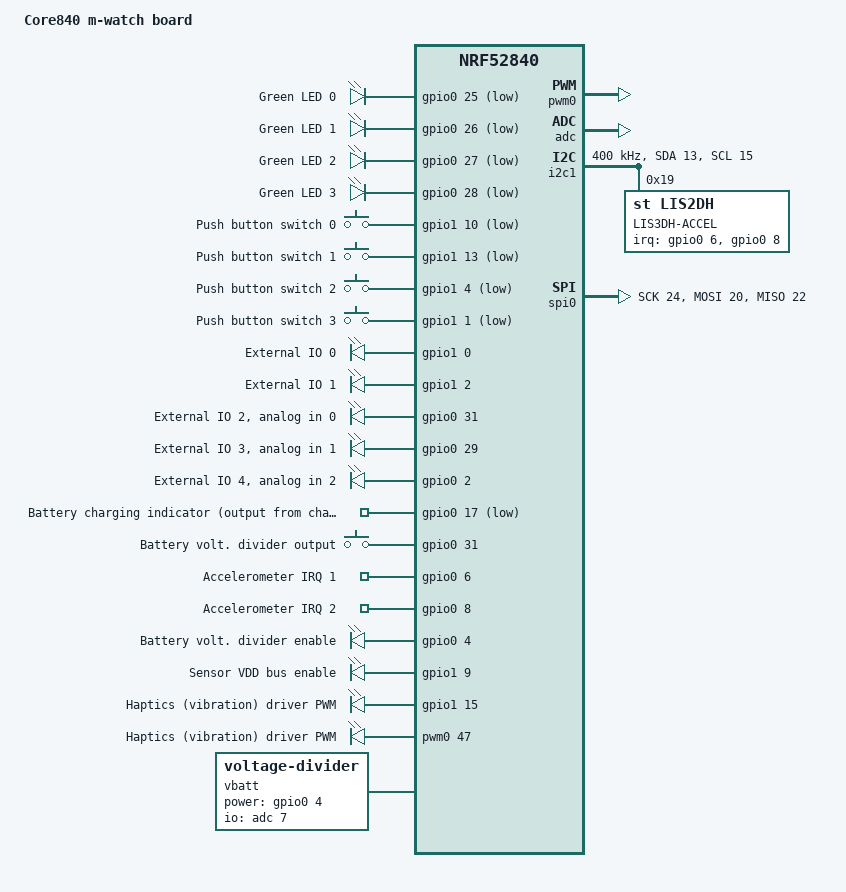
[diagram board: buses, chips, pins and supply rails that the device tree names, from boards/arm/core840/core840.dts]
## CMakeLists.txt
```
# Find Zephyr. This also loads Zephyr's build system.
cmake_minimum_required(VERSION 3.13.1)

list(APPEND BOARD_ROOT ${CMAKE_CURRENT_SOURCE_DIR})
set(BOARD core840)

set(b0_OVERLAY_CONFIG
  ${CMAKE_CURRENT_SOURCE_DIR}/b0.conf
  )

set(mcuboot_OVERLAY_CONFIG
  overlay-minimal-external-crypto.conf
  )

set(mcuboot_CONF_FILE
  # Need to define this var instead of using
  # overlay, because of custom key logic in
  # NCS mcuboot.cmake
  ${CMAKE_CURRENT_SOURCE_DIR}/mcuboot.conf
  )

find_package(Zephyr HINTS $ENV{ZEPHYR_BASE})

project(rgbwatch)

set(CMAKE_BUILD_TYPE Release)

set(APP_SRC
  src/main.c
  src/rgb_led.c
  src/disp.c
  src/clock.c
  src/accel.c
  src/screen.c
  src/pinmux.c
  src/board.c
  src/state.c
  src/stopwatch.c
  src/countdown.c
  src/battery.c
  src/motor.c
  src/ble.c
  src/cts.c
  src/calendar.c
  src/alarm.c
  )

set(APP_INCLUDE
  include
  )

target_sources(app PRIVATE ${APP_SRC})
target_include_directories(app PRIVATE ${APP_INCLUDE})
```

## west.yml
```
manifest:
  projects:
    - name: nrf
      url: https://github.com/nrfconnect/sdk-nrf
      revision: v1.5.1
      import:
        name-allowlist:
          - bsim
          - zephyr
          - cmsis
          - nrfxlib
          - mcuboot
          - mcumgr
          - tinycbor
          - segger
          - tinycrypt
          - hal_nordic
```

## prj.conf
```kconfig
CONFIG_PINMUX=y
CONFIG_GPIO=y
CONFIG_PWM=y
CONFIG_ADC=y

CONFIG_SPI=y

CONFIG_I2C=y
CONFIG_SENSOR=y
CONFIG_LIS2DH=y
CONFIG_LIS2DH_ODR_RUNTIME=y
CONFIG_LIS2DH_OPER_MODE_LOW_POWER=y

# Power management
CONFIG_DEVICE_POWER_MANAGEMENT=y
CONFIG_PM_DEVICE_IDLE=y
CONFIG_SYS_POWER_MANAGEMENT=y
CONFIG_DEVICE_POWER_MANAGEMENT=y

CONFIG_LOG=y
CONFIG_LOG_PRINTK=y
CONFIG_LOG_DEFAULT_LEVEL=3
CONFIG_LOG_BACKEND_UART=n
CONFIG_LOG_BACKEND_RTT=y
CONFIG_LOG_BUFFER_SIZE=16384

CONFIG_UART_CONSOLE=n
CONFIG_SERIAL=n

CONFIG_BT=y
CONFIG_BT_LL_SOFTDEVICE_DEFAULT=y
CONFIG_BT_PERIPHERAL=y
CONFIG_BT_SMP=y
CONFIG_BT_PRIVACY=y
CONFIG_BT_SIGNING=y
# CONFIG_BT_SMP_SC_ONLY=y
CONFIG_BT_SMP_SC_PAIR_ONLY=y
CONFIG_BT_TINYCRYPT_ECC=y
CONFIG_BT_MAX_PAIRED=2
CONFIG_BT_DEVICE_NAME="RGBwatch"
# Watch appearance
CONFIG_BT_DEVICE_APPEARANCE=192
# Enable the LBS service
CONFIG_BT_LBS=y
CONFIG_BT_LBS_POLL_BUTTON=y
# Needed because of mcumgr bug
CONFIG_BT_L2CAP_TX_MTU=252
CONFIG_BT_L2CAP_RX_MTU=252
CONFIG_BT_RX_BUF_LEN=260

# Increase stack size to work around known issue NCSDK-6832
CONFIG_MAIN_STACK_SIZE=2048
CONFIG_SYSTEM_WORKQUEUE_STACK_SIZE=2048

# Allow configuring conn interval by phone
CONFIG_BT_GAP_PERIPHERAL_PREF_PARAMS=y

# Allow triggering MTU exchange
CONFIG_BT_GATT_CLIENT=y

# Add the immutable bootloader
CONFIG_SECURE_BOOT=y
# Add MCUBoot as second-stage BL
CONFIG_BOOTLOADER_MCUBOOT=y

# Add MCUMGR for DFU over BLE
CONFIG_MCUMGR=y
CONFIG_MCUMGR_CMD_OS_MGMT=y
CONFIG_MCUMGR_CMD_IMG_MGMT=y
CONFIG_MCUMGR_SMP_BT=y
CONFIG_UART_MCUMGR=n
# TODO: remove this, only for debug
CONFIG_MCUMGR_SMP_BT_AUTHEN=n

# Ignored by NCS
# Somehow overriden in zephyr/app/build/mcuboot/shared_vars.cmake
# CONFIG_MCUBOOT_SIGNATURE_KEY_FILE="dfu_key.pem"

# We also have to sign mcuboot in custom overlay with the same key
CONFIG_SB_SIGNING_KEY_FILE="dfu_key_p256.pem"

CONFIG_GPIO_AS_PINRESET=y
```

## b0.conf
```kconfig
# Overlay for immutable bootloader
# Will get appended to nrf/samples/bootloader/prj.conf
CONFIG_NCS_SAMPLES_DEFAULTS=n
CONFIG_BOOT_BANNER=n
CONFIG_PRINTK=n
CONFIG_CONSOLE=n
CONFIG_UART_CONSOLE=n # Set explicitly to 'n' to avoid Kconfig warning
CONFIG_SERIAL=n
CONFIG_SECURE_BOOT_DEBUG=n
```

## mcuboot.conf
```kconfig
# Config lifted from
# ~/Software/ncs/nrf/applications/nrf_desktop/configuration/nrf52840dk_nrf52840/mcuboot_ZDebugMCUBootSMP.conf
CONFIG_SIZE_OPTIMIZATIONS=y

# Disable memory guard to avoid false faults in application after boot
CONFIG_HW_STACK_PROTECTION=n

CONFIG_SYSTEM_CLOCK_DISABLE=y
CONFIG_SYS_POWER_MANAGEMENT=n

CONFIG_BOOT_MAX_IMG_SECTORS=256
CONFIG_BOOT_BOOTSTRAP=n
CONFIG_BOOT_SIGNATURE_TYPE_ECDSA_P256=y
CONFIG_BOOT_SIGNATURE_KEY_FILE="dfu_key_p256.pem"

CONFIG_FLASH=y
CONFIG_BOOT_ERASE_PROGRESSIVELY=y
CONFIG_SOC_FLASH_NRF_EMULATE_ONE_BYTE_WRITE_ACCESS=y

CONFIG_USE_SEGGER_RTT=y
CONFIG_LOG=y
CONFIG_LOG_DEFAULT_LEVEL=2
CONFIG_LOG_MAX_LEVEL=3
CONFIG_LOG_PRINTK=y
CONFIG_LOG_IMMEDIATE=y
CONFIG_LOG_BACKEND_SHOW_COLOR=n
CONFIG_LOG_BACKEND_FORMAT_TIMESTAMP=n
```

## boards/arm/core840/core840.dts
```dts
/*
 * Copyright (c) 2017 Linaro Limited
 *
 * SPDX-License-Identifier: Apache-2.0
 */

/dts-v1/;
#include <nordic/nrf52840_qiaa.dtsi>

/ {
	model = "Core840 m-watch board";
	compatible = "nordic,nrf52840-dk-nrf52840";
	/* TODO: change compatible */

	chosen {
		zephyr,sram = &sram0;
		zephyr,flash = &flash0;
		zephyr,code-partition = &slot0_partition;
	};

	leds {
		/* No leds are actually present on the board */
		compatible = "gpio-leds";
		led0: led_0 {
			gpios = <&gpio0 25 GPIO_ACTIVE_LOW>;
			label = "Green LED 0";
		};
		led1: led_1 {
			gpios = <&gpio0 26 GPIO_ACTIVE_LOW>;
			label = "Green LED 1";
		};
		led2: led_2 {
			gpios = <&gpio0 27 GPIO_ACTIVE_LOW>;
			label = "Green LED 2";
		};
		led3: led_3 {
			gpios = <&gpio0 28 GPIO_ACTIVE_LOW>;
			label = "Green LED 3";
		};
	};

	buttons {
		compatible = "gpio-keys";
		button0: button_0 {
			/* Lower left */
			gpios = <&gpio1 10 (GPIO_PULL_UP | GPIO_ACTIVE_LOW)>;
			label = "Push button switch 0";
		};
		button1: button_1 {
			/* Lower right */
			gpios = <&gpio1 13 (GPIO_PULL_UP | GPIO_ACTIVE_LOW)>;
			label = "Push button switch 1";
		};
		button2: button_2 {
			/* Upper right */
			gpios = <&gpio1 4 (GPIO_PULL_UP | GPIO_ACTIVE_LOW)>;
			label = "Push button switch 2";
		};
		button3: button_3 {
			/* Not actually connected to anything */
			gpios = <&gpio1 1 (GPIO_PULL_UP | GPIO_ACTIVE_LOW)>;
			label = "Push button switch 3";
		};
	};

	ext_io {
		compatible = "gpio-leds";
		/* GPIOs present on extension connector */
		eio0: ext_io0 {
			gpios = <&gpio1 0 GPIO_ACTIVE_HIGH>;
			label = "External IO 0";
			/* also controls external 5V rail */
		};
		eio1: ext_io1 {
			gpios = <&gpio1 2 GPIO_ACTIVE_HIGH>;
			label = "External IO 1";
		};
		eio2_ain0: ext_ain0_io2 {
			gpios = <&gpio0 31 GPIO_ACTIVE_HIGH>;
			label = "External IO 2, analog in 0";
		};
		eio3_ain1: ext_ain1_io3 {
			gpios = <&gpio0 29 GPIO_ACTIVE_HIGH>;
			label = "External IO 3, analog in 1";
		};
		eio4_ain2: ext_ain2_io4 {
			gpios = <&gpio0 2 GPIO_ACTIVE_HIGH>;
			label = "External IO 4, analog in 2";
		};
	};

	board_inputs {
		compatible = "gpio-keys";
		chg_active: chg_active {
			gpios = <&gpio0 17 (GPIO_PULL_UP | GPIO_ACTIVE_LOW)>;
			label = "Battery charging indicator (output from charger)";
		};
		batmon_out: batmon_out {
			gpios = <&gpio0 31 GPIO_ACTIVE_HIGH>;
			label = "Battery volt. divider output";
			/* Shared with ext_ain0_io2 */
		};
		acc_int1: acc_int1 {
			gpios = <&gpio0 6 GPIO_ACTIVE_HIGH>;
			label = "Accelerometer IRQ 1";
		};
		acc_int2: acc_int2 {
			gpios = <&gpio0 8 GPIO_ACTIVE_HIGH>;
			label = "Accelerometer IRQ 2";
		};
	};

	board_outputs {
		compatible = "gpio-leds";
		batmon_en: batmon_en {
			gpios = <&gpio0 4 GPIO_ACTIVE_HIGH>;
			label = "Battery volt. divider enable";
		};
		sens_en: sens_en {
			gpios = <&gpio1 9 GPIO_ACTIVE_HIGH>;
			label = "Sensor VDD bus enable";
		};
		hapt_gpio: hapt_gpio {
			gpios = <&gpio1 15 GPIO_ACTIVE_HIGH>;
			label = "Haptics (vibration) driver PWM";
		};
	};

	board_pwm {
		compatible = "pwm-leds";
		hapt_pwm: hapt_pwm {
			pwms = <&pwm0 47>;
			label = "Haptics (vibration) driver PWM";
		};
	};

   	vbatt {
   		compatible = "voltage-divider";
   		io-channels = <&adc 7>; /* GPIO 0:31 */
   		output-ohms = <10000>;
   		full-ohms = <(10000 + 10000)>;
   		power-gpios = <&gpio0 4 GPIO_ACTIVE_HIGH>;
   	};

	/* These aliases are provided for compatibility with samples */
	aliases {
		led0 = &led0;
		led1 = &led1;
		led2 = &led2;
		led3 = &led3;
		sw0 = &button0;
		sw1 = &button1;
		sw2 = &button2;
		sw3 = &button3;
		ledspi = &spi0;
	};
};

&pwm0 {
	status = "okay";
	/* See hapt_pwm node */
	ch0-pin = <47>;
	/* ch0-inverted; */
};

&adc {
	status = "okay";
};

&gpiote {
	status = "okay";
};

&gpio0 {
	status = "okay";
};

&gpio1 {
	status = "okay";
};

&i2c1 {
	compatible = "nordic,nrf-twim";
	status = "okay";
	sda-pin = <13>;
	scl-pin = <15>;
	clock-frequency = <I2C_BITRATE_FAST>;

	accel: lis2dh@19 {
		/* Is actually a lis3dh, but compatible with lis2dh cmd set */
		compatible = "st,lis2dh";
		label = "LIS3DH-ACCEL";
		status = "okay";
		/* SA0 = 1 */
		reg = <0x19>;
		irq-gpios = 	<&gpio0 6 GPIO_ACTIVE_HIGH>,
				<&gpio0 8 GPIO_ACTIVE_HIGH>;
	};
};

&spi0 {
	compatible = "nordic,nrf-spim";
	status = "okay";
	sck-pin = <24>;
	mosi-pin = <20>;
	miso-pin = <22>;
};

&flash0 {
	/*
	 * For more information, see:
	 * https://docs.zephyrproject.org/latest/guides/dts/legacy-macros.html#legacy-flash-partitions
	 */
	partitions {
		compatible = "fixed-partitions";
		#address-cells = <1>;
		#size-cells = <1>;

		boot_partition: partition@0 {
			label = "mcuboot";
			reg = <0x000000000 0x0000C000>;
		};
		slot0_partition: partition@c000 {
			label = "image-0";
			reg = <0x0000C000 0x00067000>;
		};
		slot1_partition: partition@73000 {
			label = "image-1";
			reg = <0x00073000 0x00067000>;
		};
		scratch_partition: partition@da000 {
			label = "image-scratch";
			reg = <0x000da000 0x0001e000>;
		};

		/*
		 * The flash starting at 0x000f8000 and ending at
		 * 0x000fffff is reserved for use by the application.
		 */

		/*
		 * Storage partition will be used by FCB/LittleFS/NVS
		 * if enabled.
		 */
		storage_partition: partition@f8000 {
			label = "storage";
			reg = <0x000f8000 0x00008000>;
		};
	};
};
```

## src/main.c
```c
#include <zephyr.h>
#include <device.h>
#include <devicetree.h>
#include <drivers/gpio.h>
#include <string.h>
#include "rgb_led.h"
#include "disp.h"
#include "cts.h"
#include "calendar.h"
#include "clock.h"
#include "board.h"
#include "accel.h"
#include "state.h"
#include "screen.h"
#include "ble.h"

/* Has to be led_num + 2 long to accomodate
    * start and end words */
rgb_led_value_t led_data[30];
rgb_led_string_config_t led_cfg =
{
	.p_led_data = led_data,
	.led_num = 24,
	.brightness = 1,
	.pin_data = 0,
	.pin_clock = 0,
};

struct g_state state;

void main(void)
{
	/* Reset global state */
	memset(&state, 0, sizeof(state));
	/* Store main thread ID */
	state.main_tid = k_current_get();

	/* Init clock module */
	clock_time_init();
	time_struct_t new_time = {12, 0, 0};
	clock_set_time(new_time);
	struct date_time new_date = {0, 0, 0, 0, 0, 0};
	cal_set_date(&new_date);

	/* Init accelerometer lib */
	accel_init();

	board_gpio_setup();
	board_enable_5v(1);

	rgb_led_init(&led_cfg);
	display_init();
	display_mono_set_color(0, 255, 0);

	display_clear();
	display_animate_slide(0, 50*16);

	display_clear();
	display_mono_set_color(255, 0, 0);
	display_string("hello", 0, 50);

	ble_init();
	/* Don't advertise by default */
	ble_adv(0);

	state.pgm_state = PGM_STATE_CLOCK;
	while(1)
	{
		main_state_loop();
	}

	board_enable_5v(0);
	return;
}
```

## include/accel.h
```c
#ifndef __ACCEL_H__
#define __ACCEL_H__

void accel_test_tilt(void);
int accel_get_mg(int32_t accel[3]);
int accel_init(void);
int accel_high_latency(bool high);

/* Imported from ledwatch project
 * TODO: Improve upstream driver someday */
//----Accel sample rate: ctrl_1 ODR bits----
#define ACC_RATE_1       1
#define ACC_RATE_10      2
#define ACC_RATE_25      3
#define ACC_RATE_50      4
#define ACC_RATE_100     5
#define ACC_RATE_200     6
#define ACC_RATE_400     7
#define ACC_RATE_1250    9
#define ACC_RATE_1600_LP 8
#define ACC_RATE_5000_LP 9

//----Accel Full-scale value: ctrl_4 FS bits----
#define ACC_FS_2G  0
#define ACC_FS_4G  1
#define ACC_FS_8G  2
#define ACC_FS_16G 3

//----Interrupt Generator 1 modes----
#define IG_OR     0
#define IG_6D_MOV 0x40
#define IG_AND    0x80
#define IG_6D_POS 0xC0

//----Intgen axes----
#define I1_ZH 0x20
#define I1_ZL 0x10
#define I1_YH 0x08
#define I1_YL 0x04
#define I1_XH 0x02
#define I1_XL 0x01
#define I1_INT 0x40

//----Tap Interrupt Axes / Modes
#define TAP_ZD 0x20
#define TAP_ZS 0x10
#define TAP_YD 0x08
#define TAP_YS 0x04
#define TAP_XD 0x02
#define TAP_XS 0x01

//----Tap Interrupt Sources
#define TAP_INT    0x40
#define TAP_D      0x20
#define TAP_S      0x10
#define TAP_SIGN   0x08
#define TAP_Z      0x04
#define TAP_Y      0x02
#define TAP_X      0x01

//----I1 Interrupt Sources----
#define I1_CLICK     0x80
#define I1_IG1       0x40
#define I1_IG2       0x20
#define I1_DRDY1     0x10
#define I1_DRDY2     0x08
#define I1_WTM       0x04
#define I1_OVERRUN   0x02

//----I2 Interrupt Sources----
#define I2_CLICK     0x80
#define I2_IG1       0x40
#define I2_BOOT      0x10
#define I2_HLACTIVE  0x02

//----High-pass Filter Configuration----
#define HPF_0   0x10
#define HPF_1   0x20
#define HPM_0   0x40
#define HPM_1   0x80
#define HPDATA  0x08
#define HPCLICK 0x04
#define HPINT2  0x02
#define HPINT1  0x01

#define HP_MODE_NORMAL_RESET 0x00
#define HP_MODE_REF          0x40
#define HP_MODE_NORMAL       0x80
#define HP_MODE_AUTORESET    0xC0

//----Navigation defines----
#define LEFT   1
#define RIGHT  2
#define UP     3
#define DOWN   4
#define CLICK  5
#define DCLICK 6



#endif
```

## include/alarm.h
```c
#ifndef ALARM_H_
#define ALARM_H_

#include "clock.h"		/* For time_struct_t */

typedef struct
{
	time_struct_t time;
	time_struct_t time_sn;	/* Snooze-adjusted time */
	uint8_t days;
} alarm_struct_t;

/* days: bitmap with day_of_week_t bit-ordering */
void alarm_set(alarm_struct_t * p_alarm_time);
void alarm_get(alarm_struct_t * p_alarm_time);

/* Call to check if current time is defined as an alarm */
bool alarm_check(void);
void alarm_enable(bool enable);
bool alarm_is_enabled(void);
void alarm_snooze(uint8_t minutes);
void alarm_stop(void);
void alarm_start(void);

/* Missing:
 * - set alarm time
 * - set alarm days
 * - enable/disable alarm
 * - hook alarm module to time module
 * - make alarm ring (goto defined screen)
 * - enable motor/vibration on alarm expiry */

#endif // ALARM_H_
```

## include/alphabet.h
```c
uint16_t numbers[3][10] = {
    {0b111,0b110,0b110,0b111,0b101,0b011,0b100,0b111,0b111,0b111},
    {0b101,0b010,0b010,0b011,0b111,0b010,0b110,0b001,0b111,0b111},
    {0b111,0b111,0b011,0b111,0b001,0b110,0b110,0b001,0b111,0b001}
};

uint16_t letters[3][28] = {
    {0b00100,0b01000,0b01110,0b00100,0b01110,0b01110,0b01110,0b01010,0b00100,0b01110,0b01010,0b01000,0b01110,0b00000,0b01110,0b01100,0b01100,0b00000,0b00110,0b01110,0b01010,0b01010,0b01010,0b01010,0b01010,0b01100,0b00000,0b0000},
    {0b01010,0b01100,0b01000,0b01100,0b01100,0b01100,0b01100,0b01110,0b00100,0b00100,0b01100,0b01000,0b01010,0b01110,0b01010,0b01100,0b01100,0b01100,0b00100,0b00100,0b01010,0b01100,0b01110,0b00100,0b01110,0b00100,0b00000,0b0110},
    {0b01010,0b01100,0b01110,0b01100,0b01110,0b01000,0b01100,0b01010,0b00100,0b01100,0b01010,0b01110,0b01010,0b01010,0b01110,0b01000,0b00100,0b01000,0b01100,0b00100,0b01110,0b01000,0b00100,0b01010,0b00010,0b00110,0b00000,0b0000}
};
```

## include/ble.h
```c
#ifndef __BLE_H_
#define __BLE_H_

int ble_init(void);
int ble_adv(bool enable);
int ble_update_param(void);

#endif // __BLE_H_
```

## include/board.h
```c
#ifndef __BOARD_H_
#define __BOARD_H_

void board_enable_5v(bool enable);
void board_enable_vdd_ext(bool enable);
void board_gpio_setup(void);
void board_suspend(void);

#endif // __BOARD_H_
```

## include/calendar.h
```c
#ifndef __CALENDAR_H_
#define __CALENDAR_H_

#include "cts.h"

extern const char cal_month_string[12][4];

void cal_increment_day(void);
void cal_set_date(struct date_time*);

void cal_get_date(struct date_time*);
struct date_time* cal_get_date_ptr(void);
uint16_t cal_get_year(void);
uint8_t cal_get_month(void);
uint8_t cal_get_day(void);

day_of_week_t cal_get_weekday(struct date_time*);

#endif // __CALENDAR_H_
```

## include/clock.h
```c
#ifndef __CLOCK_H__
#define __CLOCK_H__

typedef struct
{
	uint8_t hours;
	uint8_t minutes;
	uint8_t seconds;
} time_struct_t;

time_struct_t* clock_get_time_p(uint8_t idx);
void clock_set_time(time_struct_t time);
void clock_time_init();
void clock_set_other_time_diff(uint8_t idx, int hours);
void clock_increment_seconds(uint32_t seconds);
void clock_thread_sync();
void clock_thread_unblock();
void clock_set_high_latency(bool latency);

#endif
```

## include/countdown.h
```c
#ifndef __COUNTDOWN_H_
#define __COUNTDOWN_H_

#include "clock.h"		/* For time_struct_t */

/* Countdown timer module */

typedef enum {
    CD_TIMER_STOPPED = 0,
    CD_TIMER_STARTED,
} cd_timer_state_t;

/* pass in initial timer value */
void cd_timer_start(time_struct_t* p_time);

void cd_timer_stop(void);
void cd_timer_remaining_get(time_struct_t* time);

/* register a callback to be called on timer expiry */
void cd_timer_expiry_register_fn(void (*callback_fn)(void));

cd_timer_state_t cd_timer_state_get(void);

#endif // __COUNTDOWN_H_
```

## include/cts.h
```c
/*
 * Copyright (c) 2021 Jonathan Rico
 *
 * SPDX-License-Identifier: Apache-2.0
 */

#ifndef __CTS_H_
#define __CTS_H_

#include <stdbool.h>
#include <zephyr/types.h>

/* Need to pack the structs to be compatible with bluetooth spec */
#ifndef __PACKED
#define __PACKED __attribute__((__packed__))
#endif

struct date_time {
	uint16_t year;
	uint8_t month;
	uint8_t day;
	uint8_t hours;
	uint8_t minutes;
	uint8_t seconds;
}__PACKED;

typedef enum {
	UNKNOWN = 0,
	MONDAY,
	TUESDAY,
	WEDNESDAY,
	THURSDAY,
	FRIDAY,
	SATURDAY,
	SUNDAY,
} day_of_week_t;

struct day_of_week {
	uint8_t day_of_week;
};

struct day_date_time {
	struct date_time date_time;
	struct day_of_week day_of_week;
}__PACKED;

struct exact_time_256 {
	struct day_date_time day_date_time;
	uint8_t fractions256; /* Number of 1/256 fractions of a second */
}__PACKED;

typedef enum {
	MANUAL_TIME_UPDATE = 0,
	EXTERNAL_REFERENCE_TIME_UPDATE,
	CHANGE_OF_TIME_ZONE,
	CHANGE_OF_DST,
} adjust_reason_t;

struct current_time {
	struct exact_time_256 exact_time_256;
	uint8_t adjust_reason;
}__PACKED;

struct current_time *bt_cts_get_current_time(void);

#endif // __CTS_H_
```

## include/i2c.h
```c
#ifndef __I2C_H_
#define __I2C_H_

#include <stdbool.h>
#include <stdint.h>

// I2C peripherial usage
void i2c_init(int address, uint32_t scl, uint32_t sda);
void i2c_read(uint8_t address, uint8_t* rxbuf, uint8_t rxbytes);
void i2c_write(uint8_t address, uint8_t* txbuf, uint8_t txbytes);
void i2c_write_read(uint8_t address, uint8_t* txbuf, uint8_t txbytes, uint8_t* rxbuf, uint8_t rxbytes);

#endif // __I2C_H_
```

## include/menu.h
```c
#ifndef MENU_H_
#define MENU_H_

#define STYLE_MOVEMENT 1
#define STYLE_2D_TAPS  2

typedef struct
{
	int8_t x;
	int8_t y;
	int8_t z;
} tap_2d_struct_t;

typedef struct
{
	uint8_t single_tap;
	uint8_t double_tap;
} tap_struct_t;

uint8_t
itemSelector(char* itemNames, uint8_t inputStyle);

uint32_t
numberSelector(uint16_t defaultNum, uint16_t startNum, uint16_t endNum, uint8_t displayType);

#endif
```

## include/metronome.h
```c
#ifndef __METRONOME_H_
#define __METRONOME_H_

uint32_t metronome_tap_tempo(void);
void metronome_enable(bool enable);
void metronome_set_tempo(uint32_t bpm);
uint32_t metronome_get_tempo(void);

#endif // __METRONOME_H_
```
